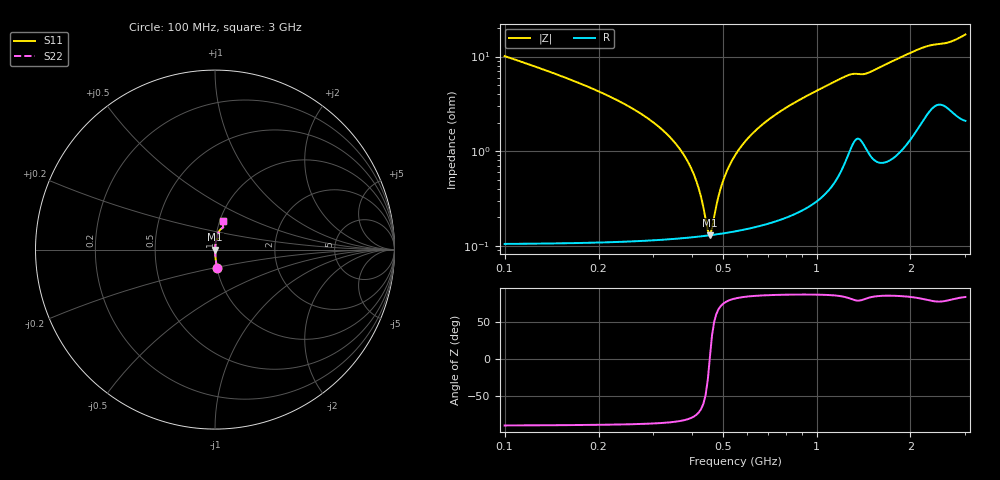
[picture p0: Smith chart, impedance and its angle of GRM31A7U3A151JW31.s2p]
!Murata Part Number: GRM31A7U3A151JW31
!These Parameters are Measured in Series Mode Connection
!Data Generated on Mar 30, 2021
!  o--ll--o
!Port1  Port2
!  o------o
!Operation Temp=25[degC], DC Bias Voltage=0[V]
!Freq. Start=100[MHz] Stop=3[GHz] 401[Steps]
# Hz S RI R 50
!Freq.(Hz) S11(Real) S11(Imag) S21(Real) S21(Imag) S12(Real) S12(Imag) S22(Real) S22(Imag)
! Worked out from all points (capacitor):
!   401 points, 100 MHz to 3 GHz, reference 50 ohm
!   read as one part in series: C = 150 pF near 114.5 MHz
!   lowest |Z| = 129 mohm at 455.2 MHz (marker M1)
!   series resonance near 454.6 MHz, so ESL is about 820 pH
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1e8  0.0111 -0.0998  0.9889 0.0998  0.9889 0.0998  0.0111 -0.0998
2.9575e8  0.00157 -0.0207  0.9984 0.0207  0.9984 0.0207  0.00157 -0.0207
3.5375e8  0.00132 -0.0119  0.9987 0.0119  0.9987 0.0119  0.00132 -0.0119
3.8275e8  0.00127 -0.00811  0.9987 0.00811  0.9987 0.00811  0.00127 -0.00811
4.045e8  0.00126 -0.00549  0.9987 0.00549  0.9987 0.00549  0.00126 -0.00549
4.19e8  0.00126 -0.00383  0.9987 0.00383  0.9987 0.00383  0.00126 -0.00383
4.4075e8  0.00127 -0.00145  0.9987 0.00145  0.9987 0.00145  0.00127 -0.00145
4.5525e8  0.00129 6.84e-05  0.9987 -6.84e-05  0.9987 -6.84e-05  0.00129 6.84e-05
4.625e8  0.0013 0.000812  0.9987 -0.000812  0.9987 -0.000812  0.0013 0.000812
4.915e8  0.00135 0.00368  0.9987 -0.00368  0.9987 -0.00368  0.00135 0.00368
5.1325e8  0.0014 0.00574  0.9986 -0.00574  0.9986 -0.00574  0.0014 0.00574
5.4225e8  0.00148 0.00837  0.9985 -0.00837  0.9985 -0.00837  0.00148 0.00837
5.8575e8  0.00162 0.0121  0.9984 -0.0121  0.9984 -0.0121  0.00162 0.0121
6.5825e8  0.00194 0.018  0.9981 -0.018  0.9981 -0.018  0.00194 0.018
7.5975e8  0.00252 0.0257  0.9975 -0.0257  0.9975 -0.0257  0.00252 0.0257
1.0715e9  0.0059 0.0482  0.9941 -0.0482  0.9941 -0.0482  0.0059 0.0482
1.26725e9  0.0131 0.0617  0.9869 -0.0617  0.9869 -0.0617  0.0131 0.0617
1.42675e9  0.0151 0.0628  0.9849 -0.0628  0.9849 -0.0628  0.0151 0.0628
1.55e9  0.0129 0.0715  0.9871 -0.0715  0.9871 -0.0715  0.0129 0.0715
2.03575e9  0.0259 0.1071  0.9741 -0.1071  0.9741 -0.1071  0.0259 0.1071
2.5215e9  0.0458 0.1232  0.9542 -0.1232  0.9542 -0.1232  0.0458 0.1232
3e9  0.0468 0.1585  0.9532 -0.1585  0.9532 -0.1585  0.0468 0.1585
